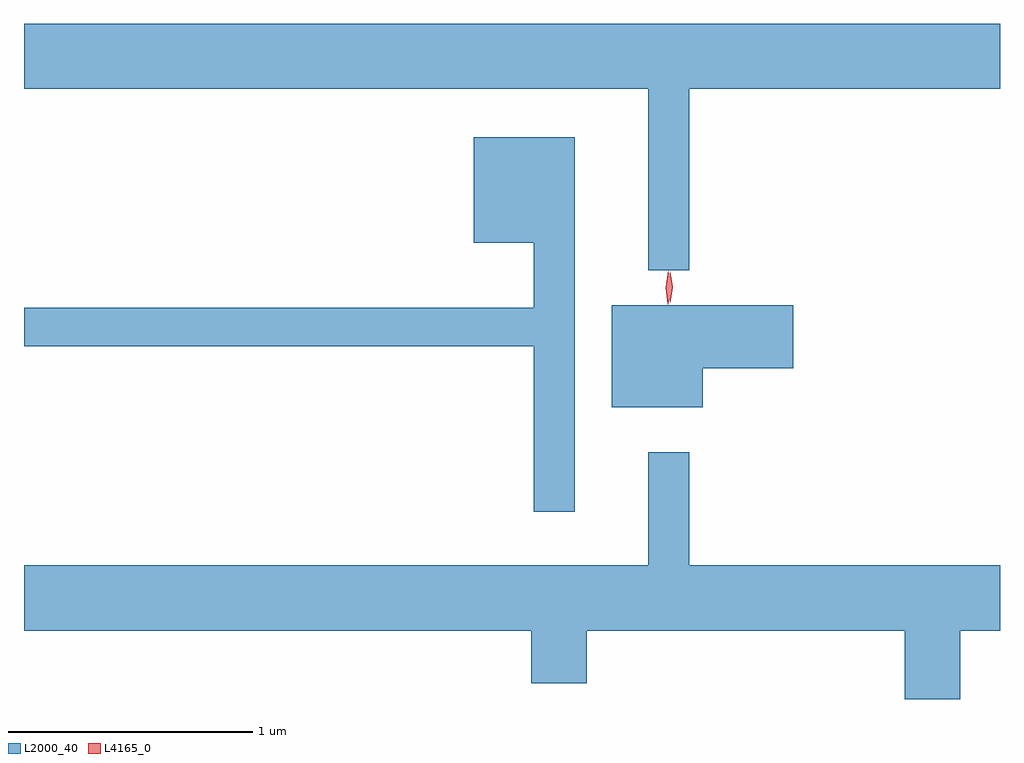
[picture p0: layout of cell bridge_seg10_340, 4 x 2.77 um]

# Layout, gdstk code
import gdstk
lib = gdstk.Library(unit=1e-6, precision=1e-09)
def P(c, l, *ps):  # polygons
    for p in ps: c.add(gdstk.Polygon(p, *l))
L2000_40 = (2000, 40)
L4165_0 = (4165, 0)

bridge_seg10_340 = lib.new_cell('bridge_seg10_340')
P(bridge_seg10_340, L2000_40, [(1205.559,2171.636),(1206.832,2171.636),(1206.832,2171.904),(1202.832,2171.904),(1202.832,2171.636),(1205.391,2171.636),(1205.391,2170.893),(1205.559,2170.893)],
  [(1205.089,2171.439),(1204.676,2171.439),(1204.676,2171.006),(1204.921,2171.006),(1204.921,2170.739),(1202.832,2170.739),(1202.832,2170.581),(1204.921,2170.581),(1204.921,2169.903),(1205.089,2169.903)],
  [(1205.614,2170.491),(1205.984,2170.491),(1205.984,2170.749),(1205.241,2170.749),(1205.241,2170.331),(1205.614,2170.331)],
  [(1206.669,2169.416),(1206.832,2169.416),(1206.832,2169.684),(1205.559,2169.684),(1205.559,2170.148),(1205.391,2170.148),(1205.391,2169.684),(1202.832,2169.684),(1202.832,2169.416),(1204.911,2169.416),(1204.911,2169.201),(1205.139,2169.201),(1205.139,2169.416),(1206.441,2169.416),(1206.441,2169.134),(1206.669,2169.134)])
P(bridge_seg10_340, L4165_0, [(1205.47,2170.754),(1205.462,2170.822),(1205.472,2170.89),(1205.472,2170.89),(1205.473,2170.89),(1205.482,2170.822),(1205.472,2170.754),(1205.471,2170.754)],
  [(1205.48,2170.76),(1205.47,2170.823),(1205.48,2170.886),(1205.48,2170.887),(1205.481,2170.886),(1205.49,2170.823),(1205.481,2170.76),(1205.481,2170.76)])

lib.write_gds('bridge_seg10_340.gds')
